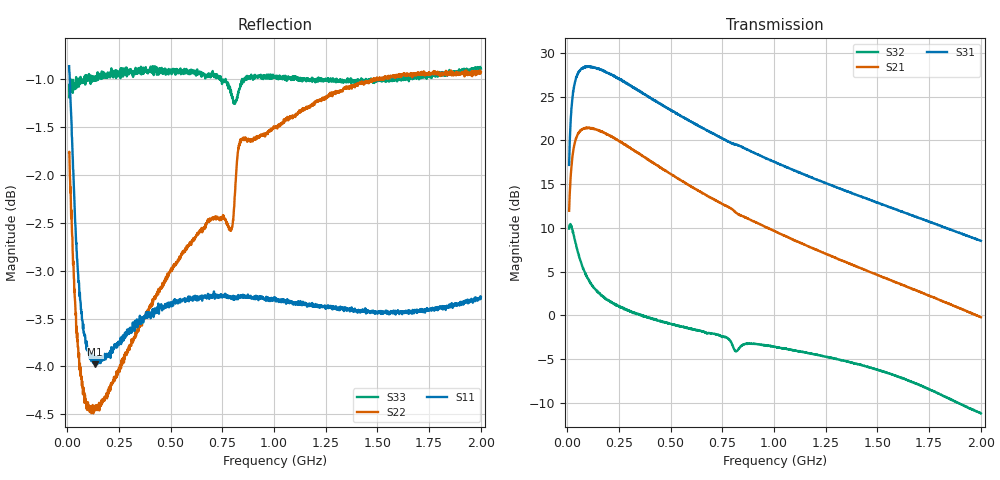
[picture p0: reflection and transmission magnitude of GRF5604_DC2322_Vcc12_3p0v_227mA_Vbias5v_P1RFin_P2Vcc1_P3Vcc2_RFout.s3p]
!Keysight Technologies,N5244B,MY57181157,A.18.40.03
!Date: Wednesday, September 10, 2025 10:33:10
!Correction: S11(C  3-Port  )
!S12(C  3-Port  )
!S13(C  3-Port  )
!S21(C  3-Port  )
!S22(C  3-Port  )
!S23(C  3-Port  )
!S31(C  3-Port  )
!S32(C  3-Port  )
!S33(C  3-Port  )
!S3P File: Measurements: <S11,S12,S13>,
!<S21,S22,S23>,
!<S31,S32,S33>:
# Hz S  RI  R 50
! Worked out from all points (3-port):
!   1991 points, 10 MHz to 2 GHz, reference 50 ohm
!   strongest paths, dB at 10 MHz, 507 MHz, 1.005 GHz, 1.503 GHz, 2 GHz:
!     S31: 17.2, 23.4, 17.5, 12.9, 8.5
!     S21: 12.0, 16.1, 9.6, 4.6, -0.2
!     S32: 9.9, -1.0, -3.6, -6.2, -11.2
!   lowest |S11| = -4.0 dB at 136 MHz (marker M1), VSWR 4.44, Z = 40.6 - j72.9 ohm
!   |S11| at or under -10 dB: nowhere
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1e7  0.8904 -0.1617  0.0403 -0.0131  -0.000928 -0.000523
     -1.683 -3.586  0.711 -0.4002  0.00452 -0.00962
     -1.013 7.177  -2.964 -1.018  -0.354 -0.7967
3e7  0.728 -0.3292  0.0264 -0.0191  0.000159 0.000224
     -6.81 -5.426  0.2173 -0.6823  0.00116 4.2e-05
     12.06 14.6  -2.788 0.955  -0.8007 -0.3733
6e7  0.5551 -0.4042  0.0142 -0.0154  -4.02e-05 0.00034
     -10.84 -2.597  -0.2105 -0.5926  0.00394 0.00263
     23.54 8.206  -1.761 1.209  -0.8673 -0.2016
9.2e7  0.4506 -0.4669  0.0099 -0.0108  0.000115 -0.000171
       -11.77 0.517  -0.3785 -0.4697  0.0048 0.00334
       26.3 0.4589  -1.322 1.056  -0.8774 -0.1407
1.36e8  0.3303 -0.5393  0.00812 -0.00672  0.000131 3.05e-05
        -10.99 3.598  -0.4747 -0.3651  0.00571 0.00428
        25.01 -7.34  -1.076 0.9182  -0.8884 -0.1
2.65e8  0.00522 -0.6521  0.00899 -0.00155  -0.000163 0.000643
        -6.422 7.299  -0.5873 -0.2386  0.00862 0.00525
        14.41 -16.63  -0.7773 0.7894  -0.8947 -0.0603
4.91e8  -0.3406 -0.5883  0.0103 -0.000101  -0.000514 0.000758
        -1.032 6.446  -0.6898 -0.1398  0.0107 0.00496
        1.458 -15.14  -0.4883 0.758  -0.9009 -0.0435
7.02e8  -0.4854 -0.4842  0.0108 -0.00024  -0.000557 0.00139
        0.8652 4.571  -0.7509 -0.0736  0.012 0.00644
        -3.213 -10.48  -0.2697 0.7406  -0.8942 -0.0301
1.005e9  -0.5838 -0.3594  0.01 -0.00124  -0.000484 0.00212
         1.574 2.588  -0.841 0.00741  0.00884 0.0023
         -5.111 -5.532  -0.058 0.659  -0.8939 -0.0185
2e9  -0.6844 0.0376  0.00898 0.0018  0.000589 0.00465
     0.9575 0.1893  -0.8042 0.4002  0.01 0.0101
     -2.569 0.7258  0.2008 0.1887  -0.8897 0.1507
